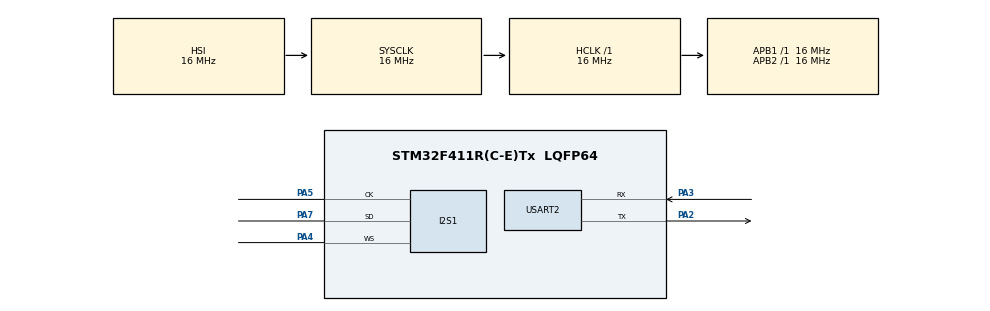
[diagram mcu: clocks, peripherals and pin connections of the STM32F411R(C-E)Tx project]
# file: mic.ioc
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Dma.Request0=SPI1_RX
Dma.SPI1_RX.0.Direction=DMA_PERIPH_TO_MEMORY
Dma.SPI1_RX.0.FIFOMode=DMA_FIFOMODE_DISABLE
Dma.SPI1_RX.0.Instance=DMA2_Stream0
Dma.SPI1_RX.0.MemDataAlignment=DMA_MDATAALIGN_HALFWORD
Dma.SPI1_RX.0.MemInc=DMA_MINC_ENABLE
Dma.SPI1_RX.0.Mode=DMA_CIRCULAR
Dma.SPI1_RX.0.PeriphDataAlignment=DMA_PDATAALIGN_HALFWORD
Dma.SPI1_RX.0.PeriphInc=DMA_PINC_DISABLE
Dma.SPI1_RX.0.Priority=DMA_PRIORITY_LOW
I2S1.AudioFreq=I2S_AUDIOFREQ_32K
I2S1.DataFormat=I2S_DATAFORMAT_24B
I2S1.ErrorAudioFreq=-0.26 %
I2S1.FullDuplexMode=I2S_FULLDUPLEXMODE_DISABLE
I2S1.Instance=SPI$Index
I2S1.Mode=I2S_MODE_MASTER_RX
I2S1.RealAudioFreq=31.914 KHz
I2S1.Standard=I2S_STANDARD_PHILIPS
I2S1.VirtualMode=I2S_MODE_MASTER
Mcu.Family=STM32F4
Mcu.Name=STM32F411R(C-E)Tx
Mcu.Package=LQFP64
NVIC.DMA2_Stream0_IRQn=true\:0\:0\:false\:false\:true\:false\:true
NVIC.PriorityGroup=NVIC_PRIORITYGROUP_4
PA2.Mode=Asynchronous
PA2.Signal=USART2_TX
PA3.Mode=Asynchronous
PA3.Signal=USART2_RX
PA4.Mode=Half_Duplex_Master
PA4.Signal=I2S1_WS
PA5.Mode=Half_Duplex_Master
PA5.Signal=I2S1_CK
PA7.Mode=Half_Duplex_Master
PA7.Signal=I2S1_SD
ProjectManager.HeapSize=0x200
ProjectManager.StackSize=0x400
ProjectManager.TargetToolchain=STM32CubeIDE
RCC.AHBFreq_Value=16000000
RCC.APB1Freq_Value=16000000
RCC.APB2Freq_Value=16000000
RCC.CortexFreq_Value=16000000
RCC.HSE_VALUE=25000000
RCC.HSI_VALUE=16000000
RCC.LSE_VALUE=32768
RCC.SYSCLKFreq_VALUE=16000000
RCC.VCOOutputFreq_Value=192000000
USART2.VirtualMode=VM_ASYNC
board=custom

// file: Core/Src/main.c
/* USER CODE BEGIN Header */
/**
  ******************************************************************************
  * @file           : main.c
  * @brief          : Main program body
  ******************************************************************************
  * @attention
  *
  * <h2><center>&copy; Copyright (c) 2021 STMicroelectronics.
  * All rights reserved.</center></h2>
  *
  * This software component is licensed by ST under BSD 3-Clause license,
  * the "License"; You may not use this file except in compliance with the
  * License. You may obtain a copy of the License at:
  *                        opensource.org/licenses/BSD-3-Clause
  *
  ******************************************************************************
  */
/* USER CODE END Header */
#include "main.h"

/* USER CODE BEGIN Includes */
#include <string.h>
#include <stdio.h>
/* USER CODE END Includes */

I2S_HandleTypeDef hi2s1;
DMA_HandleTypeDef hdma_spi1_rx;

UART_HandleTypeDef huart2;

void SystemClock_Config(void);
static void MX_GPIO_Init(void);
static void MX_I2S1_Init(void);
static void MX_DMA_Init(void);
static void MX_USART2_UART_Init(void);
/* USER CODE BEGIN PFP */
void DMATransferComplete(DMA_HandleTypeDef *DmaHandle);
/* USER CODE END PFP */

/* USER CODE BEGIN 0 */
uint8_t myTXdata[13] = "Hello World\r\n";
uint16_t data_in[4];
uint8_t buf[10];
/* USER CODE END 0 */

int main(void)
{

  /* MCU Configuration--------------------------------------------------------*/

  /* Reset of all peripherals, Initializes the Flash interface and the Systick. */
  HAL_Init();

  /* Configure the system clock */
  SystemClock_Config();

  /* Initialize all configured peripherals */
  MX_GPIO_Init();
  MX_DMA_Init();
  MX_I2S1_Init();

  MX_USART2_UART_Init();
  /* USER CODE BEGIN 2 */
  //HAL_DMA_RegisterCallback(&hdma_spi1_rx,  HAL_DMA_XFER_CPLT_CB_ID, &DMATransferComplete);
  HAL_I2S_Receive_DMA(&hi2s1, data_in, 4);
  /* USER CODE END 2 */

  /* Infinite loop */
  /* USER CODE BEGIN WHILE */

  int32_t data_full;
  int32_t audio1;
  int32_t audio2;

  while (1)
  {
    /* USER CODE END WHILE */

}
}

void SystemClock_Config(void)
{
  RCC_OscInitTypeDef RCC_OscInitStruct = {0};
  RCC_ClkInitTypeDef RCC_ClkInitStruct = {0};

  /** Macro to configure the PLL multiplication factor
  */
  __HAL_RCC_PLL_PLLM_CONFIG(16);
  /** Macro to configure the PLL clock source
  */
  __HAL_RCC_PLL_PLLSOURCE_CONFIG(RCC_PLLSOURCE_HSI);
  /** Configure the main internal regulator output voltage
  */
  __HAL_RCC_PWR_CLK_ENABLE();
  __HAL_PWR_VOLTAGESCALING_CONFIG(PWR_REGULATOR_VOLTAGE_SCALE1);
  /** Initializes the RCC Oscillators according to the specified parameters
  * in the RCC_OscInitTypeDef structure.
  */
  RCC_OscInitStruct.OscillatorType = RCC_OSCILLATORTYPE_HSI;
  RCC_OscInitStruct.HSIState = RCC_HSI_ON;
  RCC_OscInitStruct.HSICalibrationValue = RCC_HSICALIBRATION_DEFAULT;
  RCC_OscInitStruct.PLL.PLLState = RCC_PLL_NONE;
  RCC_OscInitStruct.PLL.PLLSource = RCC_PLLSOURCE_HSI;
  if (HAL_RCC_OscConfig(&RCC_OscInitStruct) != HAL_OK)
  {
    Error_Handler();
  }
  /** Initializes the CPU, AHB and APB buses clocks
  */
  RCC_ClkInitStruct.ClockType = RCC_CLOCKTYPE_HCLK|RCC_CLOCKTYPE_SYSCLK
                              |RCC_CLOCKTYPE_PCLK1|RCC_CLOCKTYPE_PCLK2;
  RCC_ClkInitStruct.SYSCLKSource = RCC_SYSCLKSOURCE_HSI;
  RCC_ClkInitStruct.AHBCLKDivider = RCC_SYSCLK_DIV1;
  RCC_ClkInitStruct.APB1CLKDivider = RCC_HCLK_DIV1;
  RCC_ClkInitStruct.APB2CLKDivider = RCC_HCLK_DIV1;

  if (HAL_RCC_ClockConfig(&RCC_ClkInitStruct, FLASH_LATENCY_0) != HAL_OK)
  {
    Error_Handler();
  }
}

static void MX_I2S1_Init(void)
{

  hi2s1.Instance = SPI1;
  hi2s1.Init.Mode = I2S_MODE_MASTER_RX;
  hi2s1.Init.Standard = I2S_STANDARD_PHILIPS;
  hi2s1.Init.DataFormat = I2S_DATAFORMAT_24B;
  hi2s1.Init.MCLKOutput = I2S_MCLKOUTPUT_DISABLE;
  hi2s1.Init.AudioFreq = I2S_AUDIOFREQ_32K;
  hi2s1.Init.CPOL = I2S_CPOL_LOW;
  hi2s1.Init.ClockSource = I2S_CLOCK_PLL;
  hi2s1.Init.FullDuplexMode = I2S_FULLDUPLEXMODE_DISABLE;
  if (HAL_I2S_Init(&hi2s1) != HAL_OK)
  {
    Error_Handler();
  }

}

static void MX_USART2_UART_Init(void)
{

  huart2.Instance = USART2;
  huart2.Init.BaudRate = 115200;
  huart2.Init.WordLength = UART_WORDLENGTH_8B;
  huart2.Init.StopBits = UART_STOPBITS_1;
  huart2.Init.Parity = UART_PARITY_NONE;
  huart2.Init.Mode = UART_MODE_TX_RX;
  huart2.Init.HwFlowCtl = UART_HWCONTROL_NONE;
  huart2.Init.OverSampling = UART_OVERSAMPLING_16;
  if (HAL_UART_Init(&huart2) != HAL_OK)
  {
    Error_Handler();
  }

}

static void MX_DMA_Init(void)
{

  /* DMA controller clock enable */
  __HAL_RCC_DMA2_CLK_ENABLE();

  /* DMA interrupt init */
  /* DMA2_Stream0_IRQn interrupt configuration */
  HAL_NVIC_SetPriority(DMA2_Stream0_IRQn, 0, 0);
  HAL_NVIC_EnableIRQ(DMA2_Stream0_IRQn);

}

static void MX_GPIO_Init(void)
{

  /* GPIO Ports Clock Enable */
  __HAL_RCC_GPIOA_CLK_ENABLE();

}

/* USER CODE BEGIN 4 */
void HAL_I2S_RxCpltCallback(I2S_HandleTypeDef *hi2s)
{
	int32_t audio1 = (int32_t)(data_in[0] << 16 | data_in[1]);
	audio1 = audio1 >> 14;
	sprintf((char*)buf,"%li\r\n",audio1);
	HAL_UART_Transmit(&huart2, buf, strlen((char*)buf), 100);
}

void HAL_I2S_RxHalfCpltCallback(I2S_HandleTypeDef *hi2s)
{
uint16_t b = data_in[1];
uint16_t a = data_in[0];
a++; b++;
}
/* USER CODE END 4 */

void Error_Handler(void)
{
  __disable_irq();
  while (1)
  {
  }
}

/************************ (C) COPYRIGHT STMicroelectronics *****END OF FILE****/
